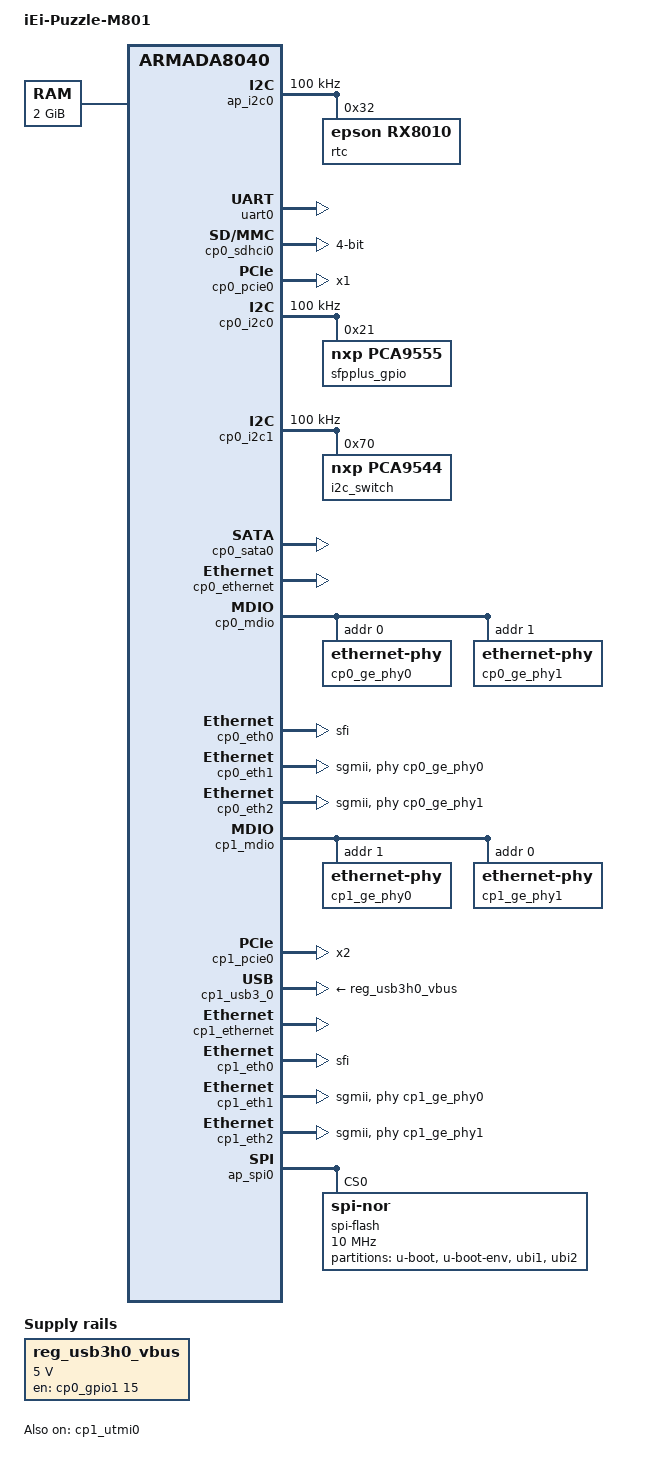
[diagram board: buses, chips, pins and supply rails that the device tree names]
// SPDX-License-Identifier: GPL-2.0
/*
 * Copyright (C) 2016 Marvell International Ltd.
 * Copyright (C) 2020 Sartura Ltd.
 */

#include "armada-8040.dtsi" /* include SoC device tree */

/ {
	model = "iEi-Puzzle-M801";
	compatible = "marvell,armada8040-puzzle-m801",
		     "marvell,armada8040";

	chosen {
		stdout-path = "serial0:115200n8";
	};

	aliases {
		i2c0 = &ap_i2c0;
		i2c1 = &cp0_i2c0;
		i2c2 = &cp0_i2c1;
		i2c3 = &i2c_switch;
		spi0 = &ap_spi0;
		gpio0 = &ap_gpio0;
		gpio1 = &cp0_gpio0;
		gpio2 = &cp0_gpio1;
		gpio3 = &sfpplus_gpio;
	};

	memory@00000000 {
		device_type = "memory";
		reg = <0x0 0x0 0x0 0x80000000>;
	};

	simple-bus {
		compatible = "simple-bus";
		#address-cells = <1>;
		#size-cells = <0>;

		reg_usb3h0_vbus: usb3-vbus0 {
			compatible = "regulator-fixed";
			pinctrl-names = "default";
			pinctrl-0 = <&cp0_xhci_vbus_pins>;
			regulator-name = "reg-usb3h0-vbus";
			regulator-min-microvolt = <5000000>;
			regulator-max-microvolt = <5000000>;
			startup-delay-us = <500000>;
			enable-active-high;
			regulator-always-on;
			regulator-boot-on;
			gpio = <&cp0_gpio1 15 GPIO_ACTIVE_HIGH>; /* GPIO[47] */
		};
	};
};

&ap_i2c0 {
	status = "okay";
	clock-frequency = <100000>;

	rtc@32 {
		compatible = "epson,rx8010";
		reg = <0x32>;
	};
};

&uart0 {
	status = "okay";
};

&ap_pinctl {
	/*
	 * MPP Bus:
	 * AP SPI0 [0-3]
	 * AP I2C [4-5]
	 * AP GPIO [6]
	 * AP UART 1 RX/TX [7-8]
	 * AP GPIO [9-10]
	 * AP GPIO [12]
	 * UART0 [11,19]
	 */
		  /* 0 1 2 3 4 5 6 7 8 9 */
	pin-func = < 3 3 3 3 3 3 3 3 3 0
		     0 3 0 0 0 0 0 0 0 3 >;
};

&cp0_pinctl {
	/*
	 * MPP Bus:
	 * [0-31] = 0xff: Keep default CP0_shared_pins:
	 * [11] CLKOUT_MPP_11 (out)
	 * [23] LINK_RD_IN_CP2CP (in)
	 * [25] CLKOUT_MPP_25 (out)
	 * [29] AVS_FB_IN_CP2CP (in)
	 * [32,34] SMI
	 * [33]    MSS power down
	 * [35-38] CP0 I2C1 and I2C0
	 * [39] MSS CKE Enable
	 * [40,41] CP0 UART1 TX/RX
	 * [42,43] XSMI (controls two 10G phys)
	 * [47] USB VBUS EN
	 * [48] FAN PWM
	 * [49] 10G port 1 interrupt
	 * [50] 10G port 0 interrupt
	 * [51] 2.5G SFP TX fault
	 * [52] PCIe reset out
	 * [53] 2.5G SFP mode
	 * [54] 2.5G SFP LOS
	 * [55] Micro SD card detect
	 * [56-61] Micro SD
	 * [62] CP1 SFI SFP FAULT
	 */
		/*   0    1    2    3    4    5    6    7    8    9 */
	pin-func = < 0xff 0xff 0xff 0xff 0xff 0xff 0xff 0xff 0xff 0xff
		     0xff 0xff 0xff 0xff 0xff 0xff 0xff 0xff 0xff 0xff
		     0xff 0xff 0xff 0xff 0xff 0xff 0xff 0xff 0xff 0xff
		     0xff 0    7    0xa  7    2    2    2    2    0xa
		     7    7    8    8    0    0    0    0    0    0
		     0    0    0    0    0    0    0xe  0xe  0xe  0xe
		     0xe  0xe  0 >;

	cp0_xhci_vbus_pins: cpm-xhci-vbus-pins {
		marvell,pins = < 47 >;
		marvell,function = <0>;
	};

	cp0_pcie_reset_pins: cpm-pcie-reset-pins {
		marvell,pins = < 52 >;
		marvell,function = <0>;
	};
};

&cp0_sdhci0 {
	pinctrl-names = "default";
	pinctrl-0 = <&cp0_sdhci_pins>;
	bus-width= <4>;
	status = "okay";
};

&cp0_pcie0 {
	num-lanes = <1>;
	pinctrl-names = "default";
	pinctrl-0 = <&cp0_pcie_reset_pins>;
	marvell,reset-gpio = <&cp0_gpio1 20 GPIO_ACTIVE_LOW>; /* GPIO[52] */
	status = "okay";
};

&cp0_i2c0 {
	pinctrl-names = "default";
	pinctrl-0 = <&cp0_i2c0_pins>;
	status = "okay";
	clock-frequency = <100000>;

	sfpplus_gpio: gpio@21 {
		compatible = "nxp,pca9555";
		reg = <0x21>;
		gpio-controller;
		#gpio-cells = <2>;
	};
};

&cp0_i2c1 {
	pinctrl-names = "default";
	pinctrl-0 = <&cp0_i2c1_pins>;
	status = "okay";
	clock-frequency = <100000>;

	i2c_switch: i2c-switch@70 {
		compatible = "nxp,pca9544";
		#address-cells = <1>;
		#size-cells = <0>;
		reg = <0x70>;
	};
};

&cp0_sata0 {
	status = "okay";
};

&cp0_ethernet {
	pinctrl-names = "default";
	status = "okay";
};

&cp0_mdio {
	status = "okay";
	cp0_ge_phy0: ethernet-phy@1 {
		reg = <0>;
	};

	cp0_ge_phy1: ethernet-phy@2 {
		reg = <1>;
	};
};

&cp0_eth0 {
	status = "okay";
	phy-mode = "sfi";
};

&cp0_eth1 {
	status = "okay";
	phy-mode = "sgmii";
	phy = <&cp0_ge_phy0>;
};

&cp0_eth2 {
	status = "okay";
	phy-mode = "sgmii";
	phy = <&cp0_ge_phy1>;
};

&cp0_comphy {
	/*
	 * CP0 Serdes Configuration:
	 * Lane 0: PCIe0 (x1)
	 * Lane 1: SGMII2
	 * Lane 2: SATA0
	 * Lane 3: SGMII1
	 * Lane 4: SFI (10G)
	 * Lane 5: SATA1
	 */
	phy0 {
		phy-type = <COMPHY_TYPE_PEX0>;
	};
	phy1 {
		phy-type = <COMPHY_TYPE_SGMII2>;
		phy-speed = <COMPHY_SPEED_1_25G>;
	};
	phy2 {
		phy-type = <COMPHY_TYPE_SATA0>;
	};
	phy3 {
		phy-type = <COMPHY_TYPE_SGMII1>;
		phy-speed = <COMPHY_SPEED_1_25G>;
	};
	phy4 {
		phy-type = <COMPHY_TYPE_SFI0>;
	};
	phy5 {
		phy-type = <COMPHY_TYPE_SATA1>;
	};
};

&cp1_mdio {
	status = "okay";
	pinctrl-names = "default";
	pinctrl-0 = <&cp1_smi_pins>;

	cp1_ge_phy0: ethernet-phy@3 {
		reg = <1>;
	};

	cp1_ge_phy1: ethernet-phy@4 {
		reg = <0>;
	};
};

&cp1_pcie0 {
	num-lanes = <2>;
	pinctrl-names = "default";
	status = "okay";
};

&cp1_usb3_0 {
	vbus-supply = <&reg_usb3h0_vbus>;
	status = "okay";
};

&cp1_utmi0 {
	status = "okay";
};

&cp1_ethernet {
	status = "okay";
};

&cp1_eth0 {
	status = "okay";
	phy-mode = "sfi";
};

&cp1_eth1 {
	status = "okay";
	phy = <&cp1_ge_phy0>;
	phy-mode = "sgmii";
};

&cp1_eth2 {
	status = "okay";
	phy = <&cp1_ge_phy1>;
	phy-mode = "sgmii";
};

&cp1_pinctl {
	/*
	 * MPP Bus:
	 * [0-5] TDM
	 * [27-28] SMI
	 * [29-30] CP1 MSS I2C
	 * [6-26, 31] GPIO
	 * [32-62] = 0xff: Keep default CP1_shared_pins:
	 */
		/*   0    1    2    3    4    5    6    7    8    9 */
	pin-func = < 0x4  0x4  0x4  0x4  0x4  0x4  0x0  0x0  0x0  0x0
		     0x0  0x0  0x0  0x0  0x0  0x0  0x0  0x0  0x0  0x0
		     0x0  0x0  0x0  0x0  0x0  0x0  0x0  0x8  0x8  0x8
		     0x8  0x0  0xff 0xff 0xff 0xff 0xff 0xff 0xff 0xff
		     0xff 0xff 0xff 0xff 0xff 0xff 0xff 0xff 0xff 0xff
		     0xff 0xff 0xff 0xff 0xff 0xff 0xff 0xff 0xff 0xff
		     0xff 0xff 0xff>;

	cp1_smi_pins: cp1-smi-pins {
		marvell,pins = < 27 28 >;
		marvell,function = <8>;
	};
};

&ap_spi0 {
	status = "okay";

	spi-flash@0 {
		#address-cells = <1>;
		#size-cells = <1>;
		compatible = "jedec,spi-nor";
		reg = <0>;
		spi-max-frequency = <10000000>;

		partitions {
			compatible = "fixed-partitions";
			#address-cells = <1>;
			#size-cells = <1>;

			partition@u-boot {
				reg = <0x00000000 0x001f0000>;
				label = "u-boot";
			};
			partition@u-boot-env {
				reg = <0x001f0000 0x00010000>;
				label = "u-boot-env";
			};
			partition@ubi1 {
				reg = <0x00200000 0x03f00000>;
				label = "ubi1";
			};
			partition@ubi2 {
				reg = <0x04100000 0x03f00000>;
				label = "ubi2";
			};
		};
	};
};

&cp1_comphy {
	/*
	 * CP1 Serdes Configuration:
	 * Lane 0: PCIe0 (x2)
	 * Lane 1: PCIe0 (x2)
	 * Lane 2: USB HOST 0
	 * Lane 3: SGMII1
	 * Lane 4: SFI (10G)
	 * Lane 5: SGMII2
	 */
	phy0 {
		phy-type = <COMPHY_TYPE_PEX0>;
	};
	phy1 {
		phy-type = <COMPHY_TYPE_PEX0>;
	};
	phy2 {
		phy-type = <COMPHY_TYPE_USB3_HOST0>;
	};
	phy3 {
		phy-type = <COMPHY_TYPE_SGMII1>;
		phy-speed = <COMPHY_SPEED_1_25G>;
	};
	phy4 {
		phy-type = <COMPHY_TYPE_SFI0>;
	};
	phy5 {
		phy-type = <COMPHY_TYPE_SGMII2>;
		phy-speed = <COMPHY_SPEED_1_25G>;
	};
};
